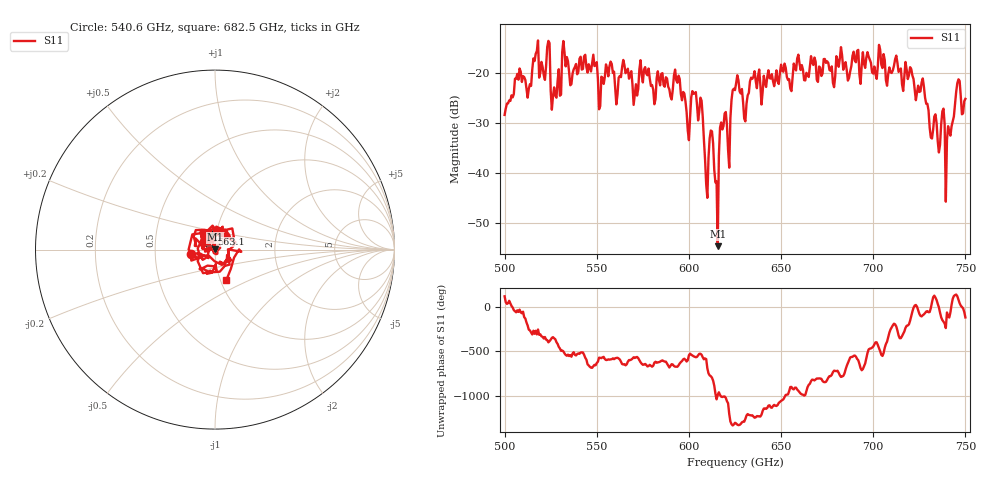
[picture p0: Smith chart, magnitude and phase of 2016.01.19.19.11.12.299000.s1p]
!Created with skrf (http://scikit-rf.org).
# GHz S RI R 50.0
!freq ReS11 ImS11
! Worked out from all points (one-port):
!   401 points, 500 GHz to 750 GHz, reference 50 ohm
!   lowest |S11| = -54.7 dB at 615.6 GHz (marker M1), VSWR 1.00, Z = 50 + j0.183 ohm
!   |S11| at or under -10 dB: start of sweep to end of sweep
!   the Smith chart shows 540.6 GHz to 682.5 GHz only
!   S11 on the Smith chart (normalised r, x): 540.6 GHz: 0.76, -0.04; 563.1 GHz: 0.95, +0.17; 682.5 GHz: 1.07, -0.37
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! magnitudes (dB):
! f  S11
! 500 GHz  -28.4
! 507.5 GHz  -21.4
! 513.1 GHz  -23.2
! 516.9 GHz  -16.2
! 523.8 GHz  -13.6
! 526.9 GHz  -22.9
! 531.2 GHz  -15.8
! 540.6 GHz  -17.2
! 562.5 GHz  -20.6
! 563.1 GHz  -20.8
! 593.8 GHz  -22.0
! 599.4 GHz  -31.5
! 606.2 GHz  -25.0
! 609.4 GHz  -42.3
! 611.9 GHz  -31.5
! 615.6 GHz  -54.7
! 618.1 GHz  -31.3
! 621.9 GHz  -39.0
! 625 GHz  -23.4
! 630.6 GHz  -29.7
! 634.4 GHz  -21.2
! 656.2 GHz  -20.9
! 682.5 GHz  -14.8
! 687.5 GHz  -19.7
! 718.8 GHz  -21.2
! 740.6 GHz  -30.7
! 745.6 GHz  -22.0
! 750 GHz  -25.2
